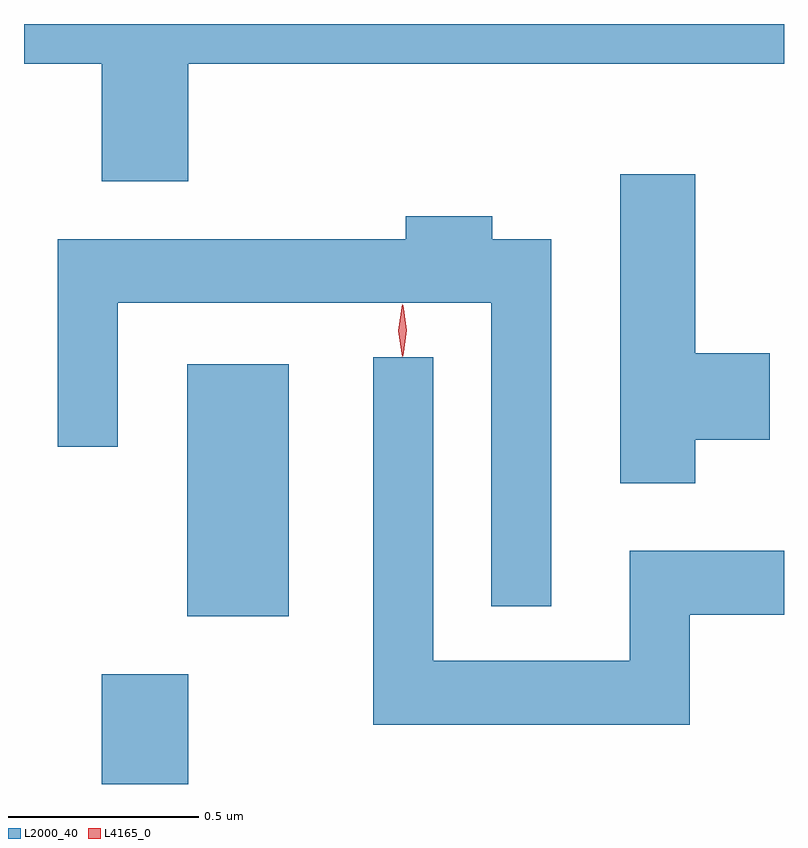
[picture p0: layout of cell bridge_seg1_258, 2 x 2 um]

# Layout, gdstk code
import gdstk
lib = gdstk.Library(unit=1e-6, precision=1e-09)
def R(c, l, rs):  # rectangles x0, y0, x1, y1
    for r in rs: c.add(gdstk.rectangle(r[:2], r[2:], *l))
def P(c, l, *ps):  # polygons
    for p in ps: c.add(gdstk.Polygon(p, *l))
L2000_40 = (2000, 40)
L4165_0 = (4165, 0)

bridge_seg1_258 = lib.new_cell('bridge_seg1_258')
R(bridge_seg1_258, L2000_40, [(958.741,897.68,958.969,897.969), (958.966,898.121,959.234,898.784)])
P(bridge_seg1_258, L2000_40, [(958.969,899.576),(960.537,899.576),(960.537,899.68),(958.537,899.68),(958.537,899.576),(958.741,899.576),(958.741,899.266),(958.969,899.266)],
  [(960.304,898.586),(960.499,898.586),(960.499,898.814),(960.304,898.814),(960.304,899.284),(960.106,899.284),(960.106,898.471),(960.304,898.471)],
  [(959.924,899.114),(959.769,899.114),(959.769,899.174),(959.541,899.174),(959.541,899.114),(958.626,899.114),(958.626,898.568),(958.784,898.568),(958.784,898.946),(959.766,898.946),(959.766,898.148),(959.924,898.148)],
  [(960.289,898.126),(960.537,898.126),(960.537,898.294),(960.131,898.294),(960.131,898.004),(959.614,898.004),(959.614,898.803),(959.456,898.803),(959.456,897.836),(960.289,897.836)])
P(bridge_seg1_258, L4165_0, [(959.532,898.803),(959.532,898.804),(959.522,898.873),(959.532,898.942),(959.532,898.943),(959.533,898.942),(959.542,898.873),(959.533,898.804)],
  [(959.534,898.807),(959.525,898.874),(959.534,898.94),(959.534,898.94),(959.535,898.94),(959.544,898.874),(959.535,898.807),(959.535,898.807)])

lib.write_gds('bridge_seg1_258.gds')
